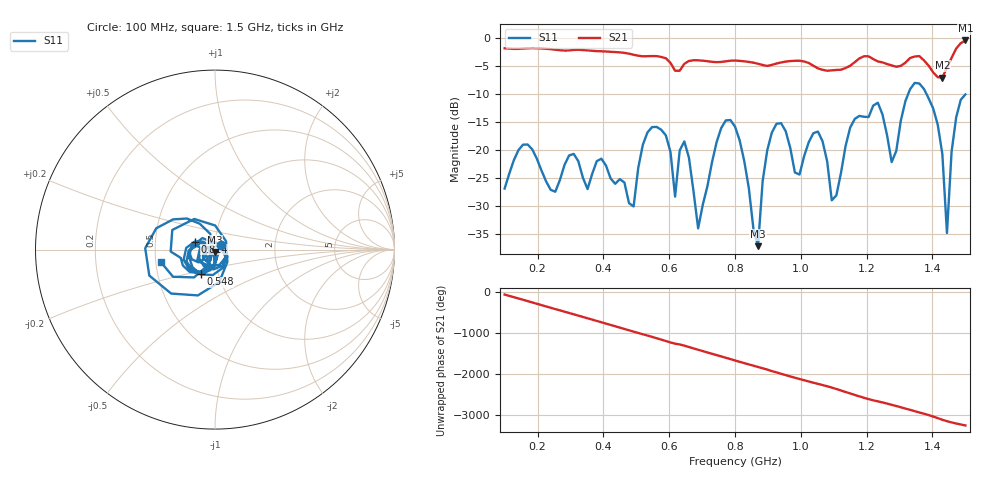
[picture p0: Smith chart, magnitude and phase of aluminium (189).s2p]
! NanoVNA-App
! Date: 2025-09-25 14:56:45
! Start: 100MHz Stop: 1,5GHz Points: 101
! S-Parameter data: F S11 S21 S12 S22
# Hz S RI R 50
!  Frequency  S11_Real  S11_Imag  S21_Real  S21_Imag  S12_Real  S12_Imag  S22_Real  S22_Imag
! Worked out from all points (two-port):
!   101 points, 100 MHz to 1.5 GHz, reference 50 ohm
!   highest |S21| = -0.52 dB at 1.5 GHz (marker M1); lowest = -7.1 dB at 1.43 GHz (marker M2)
!   |S21| within 3 dB of the highest: start of sweep to 579 MHz; 1.459 GHz to end of sweep (the widest 2 of 4)
!   lowest |S11| = -37.2 dB at 870 MHz (marker M3), VSWR 1.03, Z = 49.9 - j1.37 ohm
!   |S11| at or under -10 dB: start of sweep to 1.327 GHz; 1.381 GHz to end of sweep
!   S12 and S22 are empty: the file has one direction only
!   S11 on the Smith chart (normalised r, x): 100 MHz: 1.07, +0.06; 548 MHz: 0.82, -0.23; 814 MHz: 0.79, +0.07; 1.5 GHz: 0.53, -0.08
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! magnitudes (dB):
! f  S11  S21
! 100 MHz  -27.0  -1.9
! 338 MHz  -25.0  -2.2
! 492 MHz  -30.1  -3.1
! 548 MHz  -16.0  -3.3
! 576 MHz  -16.5  -3.5
! 618 MHz  -28.4  -5.9
! 646 MHz  -18.5  -4.7
! 688 MHz  -34.1  -4.1
! 800 MHz  -15.9  -4.1
! 814 MHz  -18.3  -4.2
! 870 MHz  -37.2  -4.7
! 912 MHz  -16.9  -4.9
! 996 MHz  -24.5  -4.1
! 1.038 GHz  -17.1  -5.0
! 1.094 GHz  -29.0  -5.9
! 1.22 GHz  -12.1  -3.8
! 1.276 GHz  -22.2  -5.0
! 1.346 GHz  -8.1  -3.4
! 1.43 GHz  -20.8  -7.1
! 1.444 GHz  -34.9  -5.4
! 1.458 GHz  -20.4  -3.6
! 1.5 GHz  -10.2  -0.5
